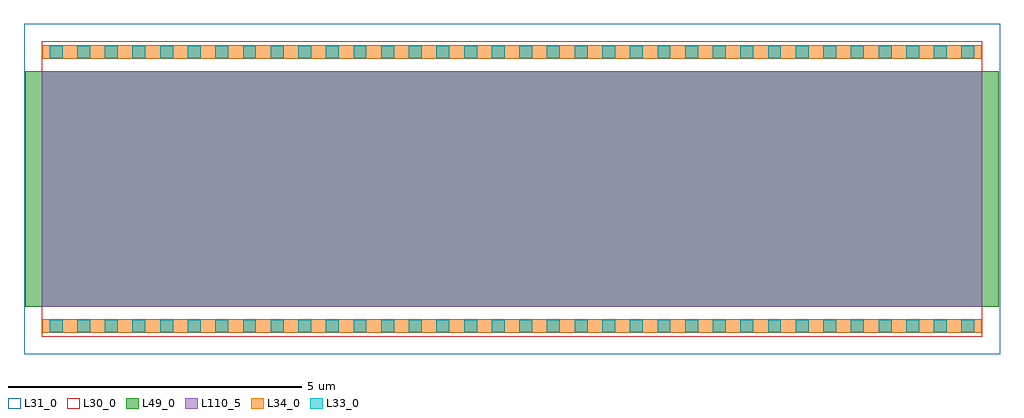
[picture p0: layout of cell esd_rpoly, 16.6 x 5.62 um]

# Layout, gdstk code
import gdstk
lib = gdstk.Library(unit=1e-6, precision=1e-09)
def R(c, l, rs):  # rectangles x0, y0, x1, y1
    for r in rs: c.add(gdstk.rectangle(r[:2], r[2:], *l))
def A(c, l, x, y, w, h, nx, ny, dx, dy):  # array of equal rectangles
    R(c, l, [(x+i*dx, y+j*dy, x+i*dx+w, y+j*dy+h) for i in range(nx) for j in range(ny)])
L30_0 = (30, 0)
L31_0 = (31, 0)
L33_0 = (33, 0)
L34_0 = (34, 0)
L49_0 = (49, 0)
L110_5 = (110, 5)

esd_rpoly = lib.new_cell('esd_rpoly')
R(esd_rpoly, L30_0, [(-8,-2.51,8,2.51)])
R(esd_rpoly, L31_0, [(-8.3,-2.81,8.3,2.81)])
A(esd_rpoly, L33_0, -7.865, -2.44, 0.22, 0.22, 34, 2, 0.47, 4.66)
R(esd_rpoly, L34_0, [(-7.99,-2.445,7.99,-2.215), (-7.99,2.215,7.99,2.445)])
R(esd_rpoly, L49_0, [(-8.28,-2,8.28,2)])
R(esd_rpoly, L110_5, [(-8,-2,8,2)])

lib.write_gds('esd_rpoly.gds')
